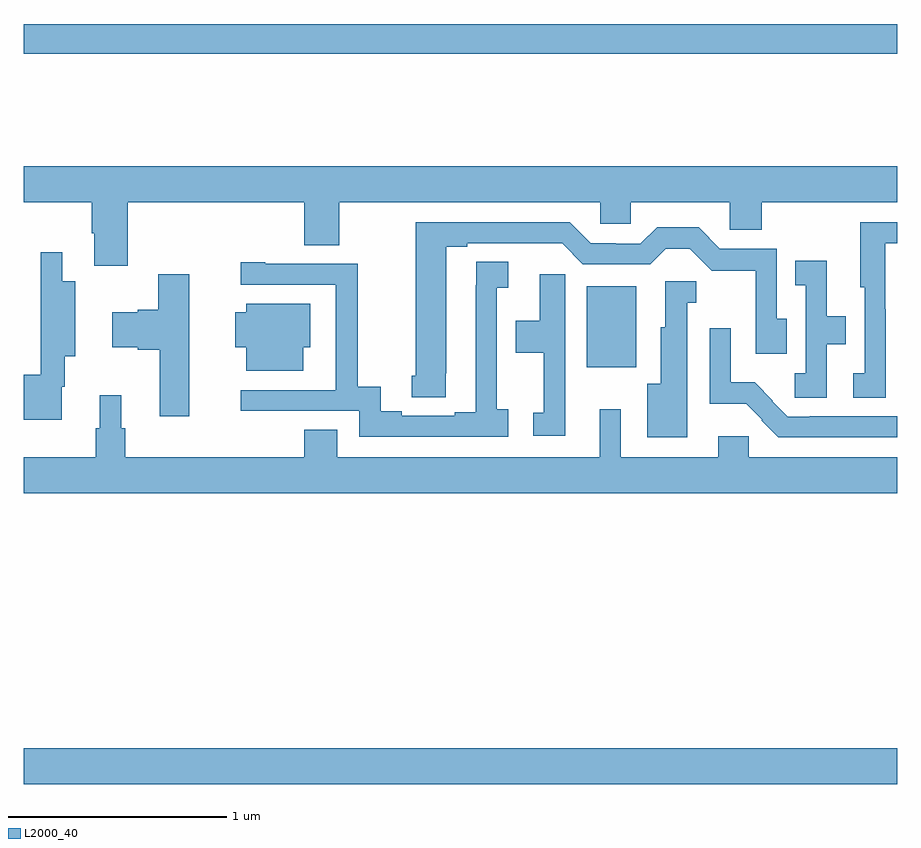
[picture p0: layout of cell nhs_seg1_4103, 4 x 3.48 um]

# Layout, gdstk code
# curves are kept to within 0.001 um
import gdstk
lib = gdstk.Library(unit=1e-6, precision=1e-09)
def R(c, l, rs):  # rectangles x0, y0, x1, y1
    for r in rs: c.add(gdstk.rectangle(r[:2], r[2:], *l))
def P(c, l, *ps):  # polygons
    for p in ps: c.add(gdstk.Polygon(p, *l))
L2000_40 = (2000, 40)

nhs_seg1_4103 = lib.new_cell('nhs_seg1_4103')
R(nhs_seg1_4103, L2000_40, [(335,514.436,339,514.6), (337.577,516.344,337.804,516.715), (335,517.78,339,517.916)])
P(nhs_seg1_4103, L2000_40, [(335.477,517.1),(336.284,517.1),(336.284,516.904),(336.444,516.904),(336.444,517.1),(337.641,517.1),(337.641,517.002),(337.779,517.002),(337.779,517.1),(338.232,517.1),(338.232,516.973),(338.379,516.973),(338.379,517.1),(339,517.1),(339,517.264),(335,517.264),(335,517.1),(335.312,517.1),(335.312,516.958),(335.324,516.958),(335.324,516.81),(335.477,516.81)],
  [(336.933,516.316),(336.934,516.897),(337.03,516.897),(337.03,516.912),(337.465,516.911),(337.56,516.816),(337.869,516.816),(337.94,516.888),(338.05,516.888),(338.15,516.787),(338.352,516.787),(338.352,516.405),(338.495,516.405),(338.495,516.566),(338.448,516.566),(338.448,516.888),(338.187,516.888),(338.09,516.985),(337.9,516.985),(337.824,516.909),(337.712,516.909),(337.712,516.912),(337.596,516.912),(337.5,517.008),(336.794,517.008),(336.794,516.306),(336.776,516.306),(336.776,516.208),(336.933,516.208)],
  [(338.948,516.611),(338.946,516.611),(338.946,516.912),(339,516.912),(339,517.008),(338.831,517.008),(338.831,516.711),(338.85,516.711),(338.85,516.316),(338.799,516.316),(338.799,516.205),(338.948,516.205)],
  [(335.175,516.254),(335.188,516.254),(335.188,516.395),(335.236,516.395),(335.236,516.739),(335.176,516.739),(335.176,516.871),(335.078,516.871),(335.078,516.635),(335.077,516.635),(335.077,516.31),(335,516.31),(335,516.104),(335.175,516.104)],
  [(338.676,516.45),(338.765,516.45),(338.765,516.578),(338.677,516.578),(338.677,516.832),(338.533,516.832),(338.533,516.719),(338.58,516.719),(338.58,516.316),(338.531,516.316),(338.531,516.205),(338.676,516.205)],
  [(337.219,516.151),(337.167,516.151),(337.167,516.709),(337.219,516.709),(337.219,516.827),(337.071,516.827),(337.071,516.719),(337.07,516.719),(337.07,516.138),(336.974,516.138),(336.974,516.123),(336.73,516.123),(336.73,516.142),(336.634,516.142),(336.634,516.256),(336.53,516.256),(336.53,516.819),(336.106,516.819),(336.106,516.824),(335.994,516.824),(335.994,516.723),(336.429,516.723),(336.429,516.242),(336.428,516.242),(336.428,516.24),(335.994,516.24),(335.994,516.144),(336.537,516.144),(336.537,516.027),(337.219,516.027)],
  [(337.48,516.769),(337.364,516.769),(337.364,516.558),(337.252,516.558),(337.252,516.41),(337.382,516.41),(337.382,516.135),(337.332,516.135),(337.332,516.03),(337.48,516.03)],
  [(335.758,516.769),(335.617,516.769),(335.617,516.608),(335.523,516.608),(335.523,516.595),(335.406,516.595),(335.406,516.437),(335.523,516.437),(335.523,516.425),(335.624,516.425),(335.624,516.12),(335.758,516.12)],
  [(338.038,516.639),(338.079,516.639),(338.079,516.738),(337.937,516.738),(337.937,516.528),(337.916,516.528),(337.916,516.268),(337.856,516.268),(337.856,516.023),(338.038,516.023)],
  [(336.28,516.437),(336.313,516.437),(336.313,516.634),(336.02,516.634),(336.02,516.595),(335.969,516.595),(335.969,516.437),(336.02,516.437),(336.02,516.329),(336.28,516.329)],
  [(339,516.12),(338.599,516.12),(338.599,516.117),(338.499,516.117),(338.427,516.189),(338.43,516.192),(338.347,516.275),(338.238,516.275),(338.238,516.523),(338.142,516.523),(338.142,516.177),(338.308,516.177),(338.381,516.104),(338.378,516.101),(338.456,516.024),(339,516.024)],
  [(339,515.932),(338.319,515.932),(338.319,516.028),(338.18,516.028),(338.18,515.932),(337.734,515.932),(337.734,516.151),(337.637,516.151),(337.637,515.932),(336.436,515.932),(336.436,516.059),(336.284,516.059),(336.284,515.932),(335.465,515.932),(335.465,516.066),(335.446,516.066),(335.446,516.217),(335.348,516.217),(335.348,516.066),(335.329,516.066),(335.329,515.932),(335,515.932),(335,515.768),(339,515.768)])

lib.write_gds('nhs_seg1_4103.gds')
